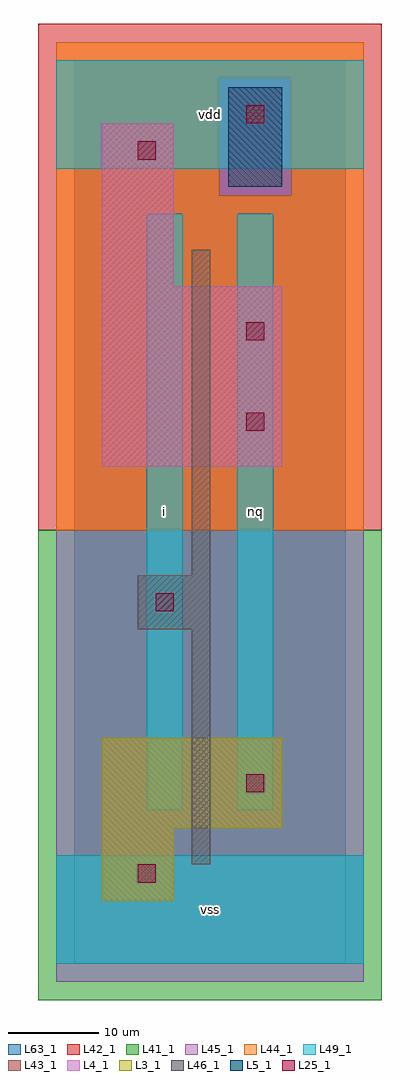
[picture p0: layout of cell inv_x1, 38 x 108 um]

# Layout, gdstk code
import gdstk
lib = gdstk.Library(unit=1e-6, precision=1e-09)
def R(c, l, rs):  # rectangles x0, y0, x1, y1
    for r in rs: c.add(gdstk.rectangle(r[:2], r[2:], *l))
L3_1 = (3, 1)
L4_1 = (4, 1)
L5_1 = (5, 1)
L25_1 = (25, 1)
L41_1 = (41, 1)
L42_1 = (42, 1)
L43_1 = (43, 1)
L44_1 = (44, 1)
L45_1 = (45, 1)
L46_1 = (46, 1)
L49_1 = (49, 1)
L63_1 = (63, 1)

inv_x1 = lib.new_cell('inv_x1')
R(inv_x1, L3_1, [(3,7,11,15), (3,15,23,25)])
R(inv_x1, L4_1, [(3,55,23,75), (3,75,11,93)])
R(inv_x1, L5_1, [(17,86,23,97)])
R(inv_x1, L25_1, [(7,9,9,11), (19,19,21,21), (9,39,11,41), (19,59,21,61), (19,69,21,71), (7,89,9,91), (19,93,21,95)])
R(inv_x1, L41_1, [(-4,-4,34,48)])
R(inv_x1, L42_1, [(-4,48,34,104)])
R(inv_x1, L43_1, [(3,7,11,15), (3,15,23,25), (3,55,23,75), (3,75,11,93), (17,86,23,97)])
R(inv_x1, L44_1, [(-2,48,32,85), (-2,85,16,98), (24,85,32,98), (-2,98,32,102)])
R(inv_x1, L45_1, [(-2,-2,32,48), (16,85,24,98)])
R(inv_x1, L46_1, [(13,11,15,37), (7,37,15,43), (13,43,15,79)])
R(inv_x1, L49_1, [(-2,0,32,12), (8,17,12,83), (18,17,22,83), (-2,88,32,100)])
R(inv_x1, L63_1, [(0,0,30,100)])
inv_x1.add(gdstk.Label('vss', (15,6), layer=49, texttype=1))
inv_x1.add(gdstk.Label('i', (10,50), layer=49, texttype=1))
inv_x1.add(gdstk.Label('vdd', (15,94), layer=49, texttype=1))
inv_x1.add(gdstk.Label('nq', (20,50), layer=49, texttype=1))

lib.write_gds('inv_x1.gds')
